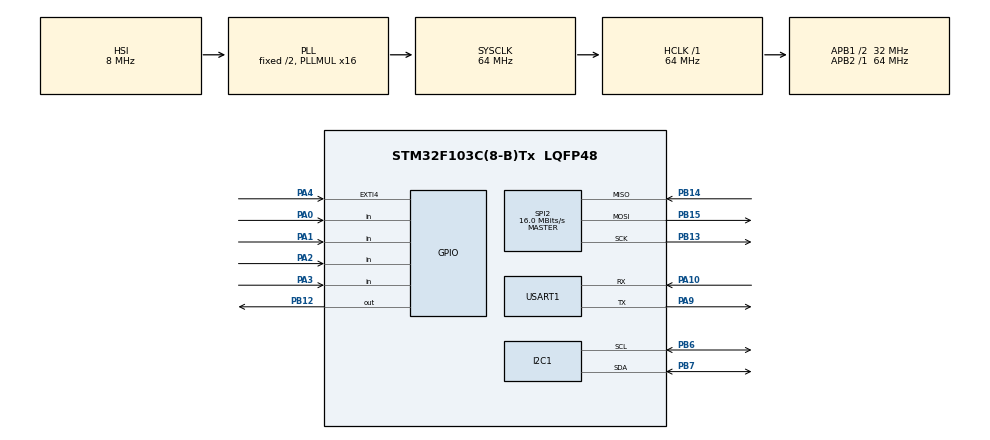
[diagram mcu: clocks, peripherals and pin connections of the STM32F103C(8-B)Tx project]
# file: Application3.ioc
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Mcu.Family=STM32F1
Mcu.Name=STM32F103C(8-B)Tx
Mcu.Package=LQFP48
NVIC.EXTI4_IRQn=true\:10\:0\:true\:false\:true\:true\:true\:true
NVIC.PriorityGroup=NVIC_PRIORITYGROUP_4
PA0-WKUP.GPIO_PuPd=GPIO_PULLUP
PA0-WKUP.Signal=GPIO_Input
PA1.GPIO_PuPd=GPIO_PULLUP
PA1.Signal=GPIO_Input
PA10.Mode=Asynchronous
PA10.Signal=USART1_RX
PA13.Mode=Serial_Wire
PA13.Signal=SYS_JTMS-SWDIO
PA14.Mode=Serial_Wire
PA14.Signal=SYS_JTCK-SWCLK
PA2.GPIO_PuPd=GPIO_PULLUP
PA2.Signal=GPIO_Input
PA3.GPIO_PuPd=GPIO_PULLUP
PA3.Signal=GPIO_Input
PA4.GPIO_ModeDefaultEXTI=GPIO_MODE_IT_FALLING
PA4.Signal=GPXTI4
PA9.Mode=Asynchronous
PA9.Signal=USART1_TX
PB12.Signal=GPIO_Output
PB13.Mode=Full_Duplex_Master
PB13.Signal=SPI2_SCK
PB14.Mode=Full_Duplex_Master
PB14.Signal=SPI2_MISO
PB15.Mode=Full_Duplex_Master
PB15.Signal=SPI2_MOSI
PB6.Mode=I2C
PB6.Signal=I2C1_SCL
PB7.Mode=I2C
PB7.Signal=I2C1_SDA
ProjectManager.HeapSize=0x200
ProjectManager.StackSize=0x400
ProjectManager.TargetToolchain=MDK-ARM V5.32
RCC.AHBFreq_Value=64000000
RCC.APB1CLKDivider=RCC_HCLK_DIV2
RCC.APB1Freq_Value=32000000
RCC.APB1TimFreq_Value=64000000
RCC.APB2Freq_Value=64000000
RCC.APB2TimFreq_Value=64000000
RCC.HCLKFreq_Value=64000000
RCC.PLLMUL=RCC_PLL_MUL16
RCC.SYSCLKFreq_VALUE=64000000
RCC.SYSCLKSource=RCC_SYSCLKSOURCE_PLLCLK
RCC.USBFreq_Value=64000000
SPI2.CalculateBaudRate=16.0 MBits/s
SPI2.Direction=SPI_DIRECTION_2LINES
SPI2.Mode=SPI_MODE_MASTER
SPI2.VirtualType=VM_MASTER
USART1.VirtualMode=VM_ASYNC
board=custom

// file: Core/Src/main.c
/* USER CODE BEGIN Header */
/**
  ******************************************************************************
  * @file           : main.c
  * @brief          : Main program body
  ******************************************************************************
  * @attention
  *
  * Copyright (c) 2024 STMicroelectronics.
  * All rights reserved.
  *
  * This software is licensed under terms that can be found in the LICENSE file
  * in the root directory of this software component.
  * If no LICENSE file comes with this software, it is provided AS-IS.
  *
  ******************************************************************************
  */
/* USER CODE END Header */
#include "main.h"
#include "tagid.h"
#include "tag_display.h"
#include "uart_cli.h"

/* USER CODE BEGIN PD */
#define Read_Menu_Button()			HAL_GPIO_ReadPin(GPIOA,GPIO_PIN_3)
#define	Read_Select_Button()		HAL_GPIO_ReadPin(GPIOA,GPIO_PIN_2)
/* USER CODE END PD */

I2C_HandleTypeDef hi2c1;

SPI_HandleTypeDef hspi2;

UART_HandleTypeDef huart1;

void SystemClock_Config(void);
static void MX_GPIO_Init(void);
static void MX_I2C1_Init(void);
static void MX_SPI2_Init(void);
static void MX_USART1_UART_Init(void);

/* USER CODE BEGIN 0 */
typedef enum
{
	STATE_MENU=1,
	STATE_BILL=2,
	STATE_CHECKOUT=3,
	STATE_DISCOUNT=4
}Menu_Typedef;
typedef enum
{
	AGREE,
	REJECT,
	ERROR_STATE
}Terminal_State;
typedef enum
{
	UP_BUTTON,
	DOWN_BUTTON,
	MENU_BUTTON,
	SELECT_BUTTON,
	NO_BUTTON
}Button_Typedef;
typedef enum
{
		EVENT=0,
		NO_EVENT
}Event_Typedef;
Menu_Typedef	Menu_state=STATE_MENU,Last_Menu_State=STATE_MENU;
uint8_t cusor=1;
uint8_t id[5];
Item_Typedef list[100];
uint8_t bill[50][2];
BUTTON_Name UP,DOWN;
uint8_t page=0;
uint8_t test=0;
uint8_t data_rv;
uint8_t button_check=0;
Terminal_State final_state;
char select_choose=0;
int Button_Handle(void);
void Menu_Handle_Mode(void);
void Checkout_Handle_Mode(Terminal_State *state);
void	Bill_Handle_Mode(void);
void Discount_Handle_Mode(void);
/* USER CODE END 0 */

int main(void)
{

  /* MCU Configuration--------------------------------------------------------*/

  /* Reset of all peripherals, Initializes the Flash interface and the Systick. */
  HAL_Init();

  /* Configure the system clock */
  SystemClock_Config();

  /* Initialize all configured peripherals */
  MX_GPIO_Init();
  MX_I2C1_Init();
  MX_SPI2_Init();
  MX_USART1_UART_Init();
  /* USER CODE BEGIN 2 */
Tag_Init(&hspi2,GPIOB,GPIO_PIN_12);
Tag_Display_Init(&hi2c1);
BUTTON_Init(&UP,GPIOA,GPIO_PIN_0);
BUTTON_Init(&DOWN,GPIOA,GPIO_PIN_1);
uart_init(&huart1);
  /* USER CODE END 2 */

  /* Infinite loop */
  while (1)
  {

    /* USER CODE BEGIN 3 */
		if(button_check==1)
			Button_Handle();
		else
		{
			handle_data();
			if(Last_Menu_State!=Menu_state)
			{
				Last_Menu_State=Menu_state;
				Tag_Clear();
			}
			switch(Menu_state)
			{
				case STATE_MENU:
					if(button_check==0)
					if(Tag_Handle_Item(list,id)==TAG_OK)
					Tag_Convert_Bill(list,bill);
					if(button_check==0)
					Tag_Menu_Display();
					Menu_Handle_Mode();
					break;
				case	STATE_DISCOUNT:
					if(button_check==0)
					Discount_Handle_Mode();
					break;
				case	STATE_BILL:
					if(button_check==0)
					Bill_Handle_Mode();
					break;
				case	STATE_CHECKOUT:
					if(button_check==0)
					Tag_Checkout_Display(bill);
					if(button_check==0)
					Checkout_Handle_Mode(&final_state);
					break;
			}
		}

  }

  /* USER CODE END 3 */
}

void SystemClock_Config(void)
{
  RCC_OscInitTypeDef RCC_OscInitStruct = {0};
  RCC_ClkInitTypeDef RCC_ClkInitStruct = {0};

  /** Initializes the RCC Oscillators according to the specified parameters
  * in the RCC_OscInitTypeDef structure.
  */
  RCC_OscInitStruct.OscillatorType = RCC_OSCILLATORTYPE_HSI;
  RCC_OscInitStruct.HSIState = RCC_HSI_ON;
  RCC_OscInitStruct.HSICalibrationValue = RCC_HSICALIBRATION_DEFAULT;
  RCC_OscInitStruct.PLL.PLLState = RCC_PLL_ON;
  RCC_OscInitStruct.PLL.PLLSource = RCC_PLLSOURCE_HSI_DIV2;
  RCC_OscInitStruct.PLL.PLLMUL = RCC_PLL_MUL16;
  if (HAL_RCC_OscConfig(&RCC_OscInitStruct) != HAL_OK)
  {
    Error_Handler();
  }

  /** Initializes the CPU, AHB and APB buses clocks
  */
  RCC_ClkInitStruct.ClockType = RCC_CLOCKTYPE_HCLK|RCC_CLOCKTYPE_SYSCLK
                              |RCC_CLOCKTYPE_PCLK1|RCC_CLOCKTYPE_PCLK2;
  RCC_ClkInitStruct.SYSCLKSource = RCC_SYSCLKSOURCE_PLLCLK;
  RCC_ClkInitStruct.AHBCLKDivider = RCC_SYSCLK_DIV1;
  RCC_ClkInitStruct.APB1CLKDivider = RCC_HCLK_DIV2;
  RCC_ClkInitStruct.APB2CLKDivider = RCC_HCLK_DIV1;

  if (HAL_RCC_ClockConfig(&RCC_ClkInitStruct, FLASH_LATENCY_2) != HAL_OK)
  {
    Error_Handler();
  }
}

static void MX_I2C1_Init(void)
{

  hi2c1.Instance = I2C1;
  hi2c1.Init.ClockSpeed = 100000;
  hi2c1.Init.DutyCycle = I2C_DUTYCYCLE_2;
  hi2c1.Init.OwnAddress1 = 0;
  hi2c1.Init.AddressingMode = I2C_ADDRESSINGMODE_7BIT;
  hi2c1.Init.DualAddressMode = I2C_DUALADDRESS_DISABLE;
  hi2c1.Init.OwnAddress2 = 0;
  hi2c1.Init.GeneralCallMode = I2C_GENERALCALL_DISABLE;
  hi2c1.Init.NoStretchMode = I2C_NOSTRETCH_DISABLE;
  if (HAL_I2C_Init(&hi2c1) != HAL_OK)
  {
    Error_Handler();
  }

}

static void MX_SPI2_Init(void)
{

  /* SPI2 parameter configuration*/
  hspi2.Instance = SPI2;
  hspi2.Init.Mode = SPI_MODE_MASTER;
  hspi2.Init.Direction = SPI_DIRECTION_2LINES;
  hspi2.Init.DataSize = SPI_DATASIZE_8BIT;
  hspi2.Init.CLKPolarity = SPI_POLARITY_LOW;
  hspi2.Init.CLKPhase = SPI_PHASE_1EDGE;
  hspi2.Init.NSS = SPI_NSS_SOFT;
  hspi2.Init.BaudRatePrescaler = SPI_BAUDRATEPRESCALER_2;
  hspi2.Init.FirstBit = SPI_FIRSTBIT_MSB;
  hspi2.Init.TIMode = SPI_TIMODE_DISABLE;
  hspi2.Init.CRCCalculation = SPI_CRCCALCULATION_DISABLE;
  hspi2.Init.CRCPolynomial = 10;
  if (HAL_SPI_Init(&hspi2) != HAL_OK)
  {
    Error_Handler();
  }

}

static void MX_USART1_UART_Init(void)
{

  huart1.Instance = USART1;
  huart1.Init.BaudRate = 115200;
  huart1.Init.WordLength = UART_WORDLENGTH_8B;
  huart1.Init.StopBits = UART_STOPBITS_1;
  huart1.Init.Parity = UART_PARITY_NONE;
  huart1.Init.Mode = UART_MODE_TX_RX;
  huart1.Init.HwFlowCtl = UART_HWCONTROL_NONE;
  huart1.Init.OverSampling = UART_OVERSAMPLING_16;
  if (HAL_UART_Init(&huart1) != HAL_OK)
  {
    Error_Handler();
  }

}

static void MX_GPIO_Init(void)
{
  GPIO_InitTypeDef GPIO_InitStruct = {0};

  /* GPIO Ports Clock Enable */
  __HAL_RCC_GPIOA_CLK_ENABLE();
  __HAL_RCC_GPIOB_CLK_ENABLE();

  /*Configure GPIO pin Output Level */
  HAL_GPIO_WritePin(GPIOB, GPIO_PIN_12, GPIO_PIN_RESET);

  /*Configure GPIO pins : PA0 PA1 PA2 PA3 */
  GPIO_InitStruct.Pin = GPIO_PIN_0|GPIO_PIN_1|GPIO_PIN_2|GPIO_PIN_3;
  GPIO_InitStruct.Mode = GPIO_MODE_INPUT;
  GPIO_InitStruct.Pull = GPIO_PULLUP;
  HAL_GPIO_Init(GPIOA, &GPIO_InitStruct);

  /*Configure GPIO pin : PA4 */
  GPIO_InitStruct.Pin = GPIO_PIN_4;
  GPIO_InitStruct.Mode = GPIO_MODE_IT_FALLING;
  GPIO_InitStruct.Pull = GPIO_NOPULL;
  HAL_GPIO_Init(GPIOA, &GPIO_InitStruct);

  /*Configure GPIO pin : PB12 */
  GPIO_InitStruct.Pin = GPIO_PIN_12;
  GPIO_InitStruct.Mode = GPIO_MODE_OUTPUT_PP;
  GPIO_InitStruct.Pull = GPIO_NOPULL;
  GPIO_InitStruct.Speed = GPIO_SPEED_FREQ_LOW;
  HAL_GPIO_Init(GPIOB, &GPIO_InitStruct);

  /* EXTI interrupt init*/
  HAL_NVIC_SetPriority(EXTI4_IRQn, 10, 0);
  HAL_NVIC_EnableIRQ(EXTI4_IRQn);

}

/* USER CODE BEGIN 4 */
void HAL_GPIO_EXTI_Callback(uint16_t GPIO_Pin)
{
			if(GPIO_Pin==GPIO_PIN_4)
				button_check=1;
}
int Button_Handle(void)
{
		button_check=0;
		if(BUTTON_Read(&UP)!=NO_CLICK)
		{
				if(Menu_state!=STATE_BILL)
				{
					cusor++;
					if(cusor>3)
					cusor=1;
				}
				else
				{
					page+=3;
				}
		}
		if(BUTTON_Read(&DOWN)!=NO_CLICK)
		{
				if(Menu_state!=STATE_BILL)
				{
					cusor--;
					if(cusor<1)
					cusor=3;
				}
				else
					page-=3;
		}
		if(Read_Menu_Button()==0)
		{
			Menu_state=STATE_MENU;
			page=0;
			cusor=1;
			select_choose=0;
		}
		if(Read_Select_Button()==0)
			select_choose=1;
		if(Menu_state!=STATE_BILL)
		Tag_Cusor_Display(cusor);
		if(Read_Select_Button()==0&&Menu_state==STATE_MENU)
			return 1;
		return 0;

}
void Menu_Handle_Mode(void)
{
		Tag_Cusor_Display(cusor);
		if(select_choose==1)
		{
			switch(cusor)
			{
				case 1:
					select_choose=0;
					Menu_state=STATE_CHECKOUT;
					break;
				case 2:
					select_choose=0;
					Menu_state=STATE_BILL;
					break;
				case 3:
					select_choose=0;
					Menu_state=STATE_DISCOUNT;
					break;
			}
			cusor=2;
			page=0;
		}
		if(button_check==0)
		if(Tag_Handle_Item(list,id)==TAG_OK)
				Tag_Convert_Bill(list,bill);
}
void Checkout_Handle_Mode(Terminal_State *state)
{
		Tag_Cusor_Display(cusor);
		if(select_choose==1)
		{
				cusor=1;
				page=0;
				select_choose=0;
				switch(cusor)
				{
					case 1:
						*state=AGREE;
						break;
					case 2:
						*state=REJECT;
						break;
					default:
						*state=ERROR_STATE;
						return;
				}
		}
}
void	Bill_Handle_Mode(void)
{
		if(button_check==0)
		if(Tag_Handle_Item(list,id)==TAG_OK)
			Tag_Convert_Bill(list,bill);
		if(button_check==0)
		Tag_Bill_Display(bill,page);
}
void Discount_Handle_Mode(void)
{
		static uint8_t flag=0;
		if(Tag_Read_Item(id)==TAG_OK||flag==1)
		{
				Tag_Discount_Display(id);
				flag=1;
		}
		else
				Tag_Discount_Display(NULL);
}
void HAL_UART_RxCpltCallback(UART_HandleTypeDef *huart){
    if(huart->Instance == huart1.Instance){
        recieve_data(data_rv);
			HAL_UART_Receive_IT(&huart1,&data_rv,1);
    }
}
/* USER CODE END 4 */

void Error_Handler(void)
{
  __disable_irq();
  while (1)
  {
  }
}
